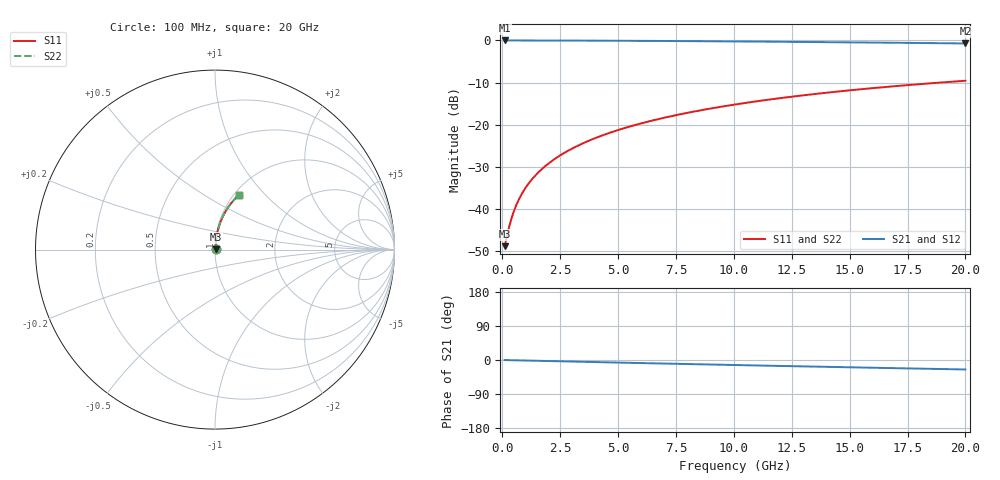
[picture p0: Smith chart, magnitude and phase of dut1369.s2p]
! Touchstone file exported from HFSS 2024.1.0
!  File:  C:/UserFiles/LocalFiles/RDL_TSV_Batchsim/temp_RDL_bottom_1369_1780371069.aedt
!  Generated:  11:34:02 AM Jun  2, 2026
!  Design:  RDL_bottom
!  Project:  temp_RDL_bottom_1369_1780371069
!  Setup:  Setup1
!  Solution:  Sweep
! Variables:
!  dtsv = 10.80580581um
!  hbump = 3um
!  htsv = 68.87um
!  ldown = 251.18um
!  lrdl = 100um
!  p = 40
!  p1 = 55.55um
!  rhole = 1um
!  t = 450um
!  tdown = 2.5um
!  trdl = 3.915915916um
!  wdown = 11.99um
!  wrdl = 20um
# GHz S MA R 50.000000
! Terminal data exported
! Port[1] = RDL1_T1
! Port[2] = RDL1_T2
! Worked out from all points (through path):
!   200 points, 100 MHz to 20 GHz, reference 50 ohm
!   highest |S21| = -0.03 dB at 100 MHz (marker M1); lowest = -0.7 dB at 20 GHz (marker M2)
!   group delay of S21, straight-line fit = 3.47 ps
!   lowest |S11| = -48.8 dB at 100 MHz (marker M3), VSWR 1.01, Z = 50.3 + j0.179 ohm
!   |S11| at or under -10 dB: start of sweep to 18.94 GHz
!   |S22| runs from -48.8 to -9.6 dB; largest |S21 - S12| = 3.5e-15
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0.1  0.003632 29.2  0.9968 -0.1  0.9968 -0.1  0.003632 29.2
! Gamma 0 0 0 0
! Port Impedance 50 0 50 0
0.3  0.00622 58.5  0.9968 -0.4  0.9968 -0.4  0.00622 58.5
0.4  0.007792 64.9  0.9967 -0.6  0.9967 -0.6  0.007792 64.9
0.5  0.00942 69.0  0.9966 -0.7  0.9966 -0.7  0.00942 69.0
0.6  0.01108 71.9  0.9965 -0.8  0.9965 -0.8  0.01108 71.9
0.7  0.01274 73.9  0.9965 -1.0  0.9965 -1.0  0.01274 73.9
0.9  0.0161 76.8  0.9963 -1.3  0.9963 -1.3  0.0161 76.8
1.2  0.02116 79.2  0.996 -1.7  0.996 -1.7  0.02116 79.2
1.4  0.02455 80.3  0.9958 -1.9  0.9958 -1.9  0.02455 80.3
1.7  0.02965 81.4  0.9955 -2.3  0.9955 -2.3  0.02965 81.4
2.2  0.03817 82.4  0.9948 -3.0  0.9948 -3.0  0.03817 82.4
2.8  0.04845 82.9  0.9939 -3.8  0.9939 -3.8  0.04845 82.9
3.5  0.06048 83.0  0.9926 -4.8  0.9926 -4.8  0.06048 83.0
4.2  0.07256 82.8  0.991 -5.7  0.991 -5.7  0.07256 82.8
5  0.0864 82.4  0.989 -6.8  0.989 -6.8  0.08639 82.4
5.9  0.102 81.8  0.9864 -8.0  0.9864 -8.0  0.102 81.8
6.8  0.1176 81.1  0.9834 -9.2  0.9834 -9.2  0.1176 81.1
8.3  0.1436 79.6  0.978 -11.1  0.978 -11.1  0.1435 79.6
10.1  0.1744 77.7  0.9706 -13.4  0.9706 -13.4  0.1744 77.7
13.4  0.2296 74.0  0.9551 -17.4  0.9551 -17.4  0.2296 74.0
16.7  0.2823 70.2  0.9377 -21.3  0.9377 -21.3  0.2823 70.2
20  0.3318 66.5  0.9188 -25.0  0.9188 -25.0  0.3318 66.5
